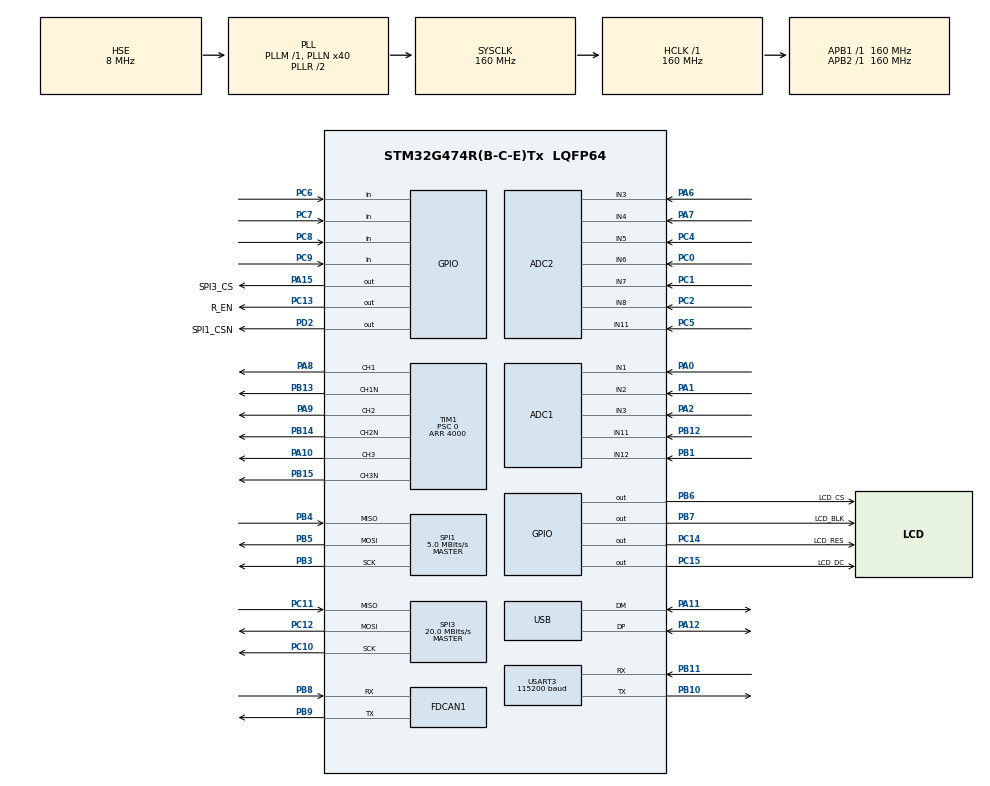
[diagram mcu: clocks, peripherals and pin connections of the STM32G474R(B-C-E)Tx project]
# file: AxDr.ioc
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ADC1.Channel-4\#ChannelRegularConversion=ADC_CHANNEL_11
ADC1.Channel-5\#ChannelRegularConversion=ADC_CHANNEL_12
ADC1.ContinuousConvMode=ENABLE
ADC1.DMAContinuousRequests=ENABLE
ADC1.EnableInjectedConversion=ENABLE
ADC1.EnableRegularConversion=ENABLE
ADC1.ExternalTrigInjecConv=ADC_EXTERNALTRIGINJEC_T1_CC4
ADC1.ExternalTrigInjecConvEdge=ADC_EXTERNALTRIGINJECCONV_EDGE_FALLING
ADC1.InjNumberOfConversion=3
ADC1.InjectedChannel-1\#ChannelInjectedConversion=ADC_CHANNEL_1
ADC1.InjectedChannel-2\#ChannelInjectedConversion=ADC_CHANNEL_2
ADC1.InjectedChannel-3\#ChannelInjectedConversion=ADC_CHANNEL_3
ADC1.InjectedOffsetNumber-1\#ChannelInjectedConversion=ADC_OFFSET_NONE
ADC1.InjectedOffsetNumber-2\#ChannelInjectedConversion=ADC_OFFSET_NONE
ADC1.InjectedOffsetNumber-3\#ChannelInjectedConversion=ADC_OFFSET_NONE
ADC1.InjectedRank-1\#ChannelInjectedConversion=1
ADC1.InjectedRank-2\#ChannelInjectedConversion=2
ADC1.InjectedRank-3\#ChannelInjectedConversion=3
ADC1.InjectedSamplingTime-1\#ChannelInjectedConversion=ADC_SAMPLETIME_47CYCLES_5
ADC1.InjectedSamplingTime-2\#ChannelInjectedConversion=ADC_SAMPLETIME_47CYCLES_5
ADC1.InjectedSamplingTime-3\#ChannelInjectedConversion=ADC_SAMPLETIME_47CYCLES_5
ADC1.NbrOfConversion=2
ADC1.NbrOfConversionFlag=1
ADC1.OffsetNumber-4\#ChannelRegularConversion=ADC_OFFSET_NONE
ADC1.OffsetNumber-5\#ChannelRegularConversion=ADC_OFFSET_NONE
ADC1.Rank-4\#ChannelRegularConversion=1
ADC1.Rank-5\#ChannelRegularConversion=2
ADC1.SamplingTime-4\#ChannelRegularConversion=ADC_SAMPLETIME_47CYCLES_5
ADC1.SamplingTime-5\#ChannelRegularConversion=ADC_SAMPLETIME_47CYCLES_5
ADC1.master=1
ADC2.Channel-11\#ChannelRegularConversion=ADC_CHANNEL_5
ADC2.Channel-12\#ChannelRegularConversion=ADC_CHANNEL_6
ADC2.Channel-13\#ChannelRegularConversion=ADC_CHANNEL_7
ADC2.Channel-14\#ChannelRegularConversion=ADC_CHANNEL_8
ADC2.ContinuousConvMode=ENABLE
ADC2.DMAContinuousRequests=ENABLE
ADC2.EnableInjectedConversion=ENABLE
ADC2.EnableRegularConversion=ENABLE
ADC2.ExternalTrigInjecConv=ADC_EXTERNALTRIGINJEC_T1_CC4
ADC2.ExternalTrigInjecConvEdge=ADC_EXTERNALTRIGINJECCONV_EDGE_FALLING
ADC2.InjNumberOfConversion=1
ADC2.InjectedChannel-1\#ChannelInjectedConversion=ADC_CHANNEL_11
ADC2.InjectedOffsetNumber-1\#ChannelInjectedConversion=ADC_OFFSET_NONE
ADC2.InjectedRank-1\#ChannelInjectedConversion=1
ADC2.InjectedSamplingTime-1\#ChannelInjectedConversion=ADC_SAMPLETIME_47CYCLES_5
ADC2.NbrOfConversion=4
ADC2.NbrOfConversionFlag=1
ADC2.OffsetNumber-11\#ChannelRegularConversion=ADC_OFFSET_NONE
ADC2.OffsetNumber-12\#ChannelRegularConversion=ADC_OFFSET_NONE
ADC2.OffsetNumber-13\#ChannelRegularConversion=ADC_OFFSET_NONE
ADC2.OffsetNumber-14\#ChannelRegularConversion=ADC_OFFSET_NONE
ADC2.Rank-11\#ChannelRegularConversion=1
ADC2.Rank-12\#ChannelRegularConversion=2
ADC2.Rank-13\#ChannelRegularConversion=3
ADC2.Rank-14\#ChannelRegularConversion=4
ADC2.SamplingTime-11\#ChannelRegularConversion=ADC_SAMPLETIME_47CYCLES_5
ADC2.SamplingTime-12\#ChannelRegularConversion=ADC_SAMPLETIME_47CYCLES_5
ADC2.SamplingTime-13\#ChannelRegularConversion=ADC_SAMPLETIME_47CYCLES_5
ADC2.SamplingTime-14\#ChannelRegularConversion=ADC_SAMPLETIME_47CYCLES_5
Dma.ADC1.3.Direction=DMA_PERIPH_TO_MEMORY
Dma.ADC1.3.EventEnable=DISABLE
Dma.ADC1.3.Instance=DMA1_Channel4
Dma.ADC1.3.MemDataAlignment=DMA_MDATAALIGN_HALFWORD
Dma.ADC1.3.MemInc=DMA_MINC_ENABLE
Dma.ADC1.3.Mode=DMA_CIRCULAR
Dma.ADC1.3.PeriphDataAlignment=DMA_PDATAALIGN_HALFWORD
Dma.ADC1.3.PeriphInc=DMA_PINC_DISABLE
Dma.ADC1.3.Polarity=HAL_DMAMUX_REQ_GEN_RISING
Dma.ADC1.3.Priority=DMA_PRIORITY_LOW
Dma.ADC1.3.RequestNumber=1
Dma.ADC1.3.SignalID=NONE
Dma.ADC1.3.SyncEnable=DISABLE
Dma.ADC1.3.SyncPolarity=HAL_DMAMUX_SYNC_NO_EVENT
Dma.ADC1.3.SyncRequestNumber=1
Dma.ADC1.3.SyncSignalID=NONE
Dma.ADC2.2.Direction=DMA_PERIPH_TO_MEMORY
Dma.ADC2.2.EventEnable=DISABLE
Dma.ADC2.2.Instance=DMA1_Channel3
Dma.ADC2.2.MemDataAlignment=DMA_MDATAALIGN_HALFWORD
Dma.ADC2.2.MemInc=DMA_MINC_ENABLE
Dma.ADC2.2.Mode=DMA_CIRCULAR
Dma.ADC2.2.PeriphDataAlignment=DMA_PDATAALIGN_HALFWORD
Dma.ADC2.2.PeriphInc=DMA_PINC_DISABLE
Dma.ADC2.2.Polarity=HAL_DMAMUX_REQ_GEN_RISING
Dma.ADC2.2.Priority=DMA_PRIORITY_LOW
Dma.ADC2.2.RequestNumber=1
Dma.ADC2.2.SignalID=NONE
Dma.ADC2.2.SyncEnable=DISABLE
Dma.ADC2.2.SyncPolarity=HAL_DMAMUX_SYNC_NO_EVENT
Dma.ADC2.2.SyncRequestNumber=1
Dma.ADC2.2.SyncSignalID=NONE
Dma.Request0=USART3_RX
Dma.Request1=USART3_TX
Dma.Request2=ADC2
Dma.Request3=ADC1
Dma.USART3_RX.0.Direction=DMA_PERIPH_TO_MEMORY
Dma.USART3_RX.0.EventEnable=DISABLE
Dma.USART3_RX.0.Instance=DMA1_Channel1
Dma.USART3_RX.0.MemDataAlignment=DMA_MDATAALIGN_BYTE
Dma.USART3_RX.0.MemInc=DMA_MINC_ENABLE
Dma.USART3_RX.0.Mode=DMA_NORMAL
Dma.USART3_RX.0.PeriphDataAlignment=DMA_PDATAALIGN_BYTE
Dma.USART3_RX.0.PeriphInc=DMA_PINC_DISABLE
Dma.USART3_RX.0.Polarity=HAL_DMAMUX_REQ_GEN_RISING
Dma.USART3_RX.0.Priority=DMA_PRIORITY_LOW
Dma.USART3_RX.0.RequestNumber=1
Dma.USART3_RX.0.SignalID=NONE
Dma.USART3_RX.0.SyncEnable=DISABLE
Dma.USART3_RX.0.SyncPolarity=HAL_DMAMUX_SYNC_NO_EVENT
Dma.USART3_RX.0.SyncRequestNumber=1
Dma.USART3_RX.0.SyncSignalID=NONE
Dma.USART3_TX.1.Direction=DMA_MEMORY_TO_PERIPH
Dma.USART3_TX.1.EventEnable=DISABLE
Dma.USART3_TX.1.Instance=DMA1_Channel2
Dma.USART3_TX.1.MemDataAlignment=DMA_MDATAALIGN_BYTE
Dma.USART3_TX.1.MemInc=DMA_MINC_ENABLE
Dma.USART3_TX.1.Mode=DMA_NORMAL
Dma.USART3_TX.1.PeriphDataAlignment=DMA_PDATAALIGN_BYTE
Dma.USART3_TX.1.PeriphInc=DMA_PINC_DISABLE
Dma.USART3_TX.1.Polarity=HAL_DMAMUX_REQ_GEN_RISING
Dma.USART3_TX.1.Priority=DMA_PRIORITY_LOW
Dma.USART3_TX.1.RequestNumber=1
Dma.USART3_TX.1.SignalID=NONE
Dma.USART3_TX.1.SyncEnable=DISABLE
Dma.USART3_TX.1.SyncPolarity=HAL_DMAMUX_SYNC_NO_EVENT
Dma.USART3_TX.1.SyncRequestNumber=1
Dma.USART3_TX.1.SyncSignalID=NONE
FDCAN1.AutoRetransmission=ENABLE
FDCAN1.CalculateBaudRateNominal=1000000
FDCAN1.CalculateTimeBitNominal=1000
FDCAN1.CalculateTimeQuantumNominal=12.5
FDCAN1.DataPrescaler=1
FDCAN1.DataSyncJumpWidth=1
FDCAN1.DataTimeSeg1=14
FDCAN1.DataTimeSeg2=1
FDCAN1.ExtFiltersNbr=8
FDCAN1.FrameFormat=FDCAN_FRAME_FD_BRS
FDCAN1.NominalPrescaler=1
FDCAN1.NominalSyncJumpWidth=20
FDCAN1.NominalTimeSeg1=59
FDCAN1.NominalTimeSeg2=20
FDCAN1.ProtocolException=DISABLE
FDCAN1.StdFiltersNbr=16
FDCAN1.TransmitPause=ENABLE
Mcu.Family=STM32G4
Mcu.Name=STM32G474R(B-C-E)Tx
Mcu.Package=LQFP64
NVIC.ADC1_2_IRQn=true\:0\:0\:false\:false\:true\:true\:true\:true
NVIC.DMA1_Channel1_IRQn=true\:0\:0\:false\:false\:true\:false\:true\:true
NVIC.DMA1_Channel2_IRQn=true\:0\:0\:false\:false\:true\:false\:true\:true
NVIC.DMA1_Channel3_IRQn=true\:0\:0\:false\:false\:true\:false\:true\:true
NVIC.DMA1_Channel4_IRQn=true\:0\:0\:false\:false\:true\:false\:true\:true
NVIC.FDCAN1_IT0_IRQn=true\:0\:0\:false\:false\:true\:true\:true\:true
NVIC.FDCAN1_IT1_IRQn=true\:0\:0\:false\:false\:true\:true\:true\:true
NVIC.PriorityGroup=NVIC_PRIORITYGROUP_4
NVIC.TIM1_UP_TIM16_IRQn=true\:0\:0\:false\:false\:true\:true\:true\:true
NVIC.USART3_IRQn=true\:0\:0\:false\:false\:true\:true\:true\:true
NVIC.USB_LP_IRQn=true\:0\:0\:false\:false\:true\:false\:true\:true
PA0.Mode=IN1-Single-Ended
PA0.Signal=ADC1_IN1
PA1.Mode=IN2-Single-Ended
PA1.Signal=ADC1_IN2
PA10.Signal=S_TIM1_CH3
PA11.Mode=Device
PA11.Signal=USB_DM
PA12.Mode=Device
PA12.Signal=USB_DP
PA13.Mode=Serial_Wire
PA13.Signal=SYS_JTMS-SWDIO
PA14.Mode=Serial_Wire
PA14.Signal=SYS_JTCK-SWCLK
PA15.GPIO_Label=SPI3_CS
PA15.GPIO_PuPd=GPIO_PULLUP
PA15.Signal=GPIO_Output
PA2.Mode=IN3-Single-Ended
PA2.Signal=ADC1_IN3
PA6.Mode=IN3-Single-Ended
PA6.Signal=ADC2_IN3
PA7.Mode=IN4-Single-Ended
PA7.Signal=ADC2_IN4
PA8.Signal=S_TIM1_CH1
PA9.Signal=S_TIM1_CH2
PB1.Mode=IN12-Single-Ended
PB1.Signal=ADC1_IN12
PB10.Mode=Asynchronous
PB10.Signal=USART3_TX
PB11.Mode=Asynchronous
PB11.Signal=USART3_RX
PB12.Mode=IN11-Single-Ended
PB12.Signal=ADC1_IN11
PB13.Mode=PWM Generation1 CH1 CH1N
PB13.Signal=TIM1_CH1N
PB14.Mode=PWM Generation2 CH2 CH2N
PB14.Signal=TIM1_CH2N
PB15.Mode=PWM Generation3 CH3 CH3N
PB15.Signal=TIM1_CH3N
PB3.Mode=Full_Duplex_Master
PB3.Signal=SPI1_SCK
PB4.Mode=Full_Duplex_Master
PB4.Signal=SPI1_MISO
PB5.Mode=Full_Duplex_Master
PB5.Signal=SPI1_MOSI
PB6.GPIO_Label=LCD_CS
PB6.GPIO_PuPd=GPIO_PULLDOWN
PB6.Signal=GPIO_Output
PB7.GPIO_Label=LCD_BLK
PB7.GPIO_PuPd=GPIO_PULLDOWN
PB7.Signal=GPIO_Output
PB8-BOOT0.Mode=FDCAN_Activate
PB8-BOOT0.Signal=FDCAN1_RX
PB9.Mode=FDCAN_Activate
PB9.Signal=FDCAN1_TX
PC0.Mode=IN6-Single-Ended
PC0.Signal=ADC2_IN6
PC1.Mode=IN7-Single-Ended
PC1.Signal=ADC2_IN7
PC10.Mode=Full_Duplex_Master
PC10.Signal=SPI3_SCK
PC11.Mode=Full_Duplex_Master
PC11.Signal=SPI3_MISO
PC12.Mode=Full_Duplex_Master
PC12.Signal=SPI3_MOSI
PC13.GPIO_Label=R_EN
PC13.Signal=GPIO_Output
PC14-OSC32_IN.GPIO_Label=LCD_RES
PC14-OSC32_IN.GPIO_PuPd=GPIO_PULLUP
PC14-OSC32_IN.PinState=GPIO_PIN_SET
PC14-OSC32_IN.Signal=GPIO_Output
PC15-OSC32_OUT.GPIO_Label=LCD_DC
PC15-OSC32_OUT.GPIO_PuPd=GPIO_PULLDOWN
PC15-OSC32_OUT.PinState=GPIO_PIN_SET
PC15-OSC32_OUT.Signal=GPIO_Output
PC2.Mode=IN8-Single-Ended
PC2.Signal=ADC2_IN8
PC4.Mode=IN5-Single-Ended
PC4.Signal=ADC2_IN5
PC5.Mode=IN11-Single-Ended
PC5.Signal=ADC2_IN11
PC6.GPIO_PuPd=GPIO_PULLUP
PC6.Signal=GPIO_Input
PC7.GPIO_PuPd=GPIO_PULLUP
PC7.Signal=GPIO_Input
PC8.GPIO_PuPd=GPIO_PULLUP
PC8.Signal=GPIO_Input
PC9.GPIO_PuPd=GPIO_PULLUP
PC9.Signal=GPIO_Input
PD2.GPIO_Label=SPI1_CSN
PD2.GPIO_PuPd=GPIO_PULLDOWN
PD2.Signal=GPIO_Output
PF0-OSC_IN.Mode=HSE-External-Oscillator
PF0-OSC_IN.Signal=RCC_OSC_IN
PF1-OSC_OUT.Mode=HSE-External-Oscillator
PF1-OSC_OUT.Signal=RCC_OSC_OUT
ProjectManager.HeapSize=0x200
ProjectManager.StackSize=0x400
ProjectManager.TargetToolchain=CMake
RCC.ADC12Freq_Value=160000000
RCC.ADC345Freq_Value=160000000
RCC.AHBFreq_Value=160000000
RCC.APB1Freq_Value=160000000
RCC.APB1TimFreq_Value=160000000
RCC.APB2Freq_Value=160000000
RCC.APB2TimFreq_Value=160000000
RCC.CK48CLockSelection=RCC_USBCLKSOURCE_HSI48
RCC.CortexFreq_Value=160000000
RCC.EXTERNAL_CLOCK_VALUE=12288000
RCC.FDCANCLockSelection=RCC_FDCANCLKSOURCE_PLL
RCC.HCLKFreq_Value=160000000
RCC.HSE_VALUE=8000000
RCC.HSI48_VALUE=48000000
RCC.HSI_VALUE=16000000
RCC.LSE_VALUE=32768
RCC.PLLN=40
RCC.PLLQ=RCC_PLLQ_DIV4
RCC.PLLSourceVirtual=RCC_PLLSOURCE_HSE
RCC.SYSCLKFreq_VALUE=160000000
RCC.SYSCLKSource=RCC_SYSCLKSOURCE_PLLCLK
RCC.USBFreq_Value=48000000
RCC.VCOOutputFreq_Value=320000000
SH.S_TIM1_CH1.0=TIM1_CH1,PWM Generation1 CH1 CH1N
SH.S_TIM1_CH2.0=TIM1_CH2,PWM Generation2 CH2 CH2N
SH.S_TIM1_CH3.0=TIM1_CH3,PWM Generation3 CH3 CH3N
SPI1.BaudRatePrescaler=SPI_BAUDRATEPRESCALER_32
SPI1.CLKPhase=SPI_PHASE_2EDGE
SPI1.CLKPolarity=SPI_POLARITY_HIGH
SPI1.CRCCalculation=SPI_CRCCALCULATION_DISABLE
SPI1.CalculateBaudRate=5.0 MBits/s
SPI1.DataSize=SPI_DATASIZE_16BIT
SPI1.Direction=SPI_DIRECTION_2LINES
SPI1.FirstBit=SPI_FIRSTBIT_MSB
SPI1.Mode=SPI_MODE_MASTER
SPI1.NSS=SPI_NSS_SOFT
SPI1.TIMode=SPI_TIMODE_DISABLE
SPI1.VirtualType=VM_MASTER
SPI3.BaudRatePrescaler=SPI_BAUDRATEPRESCALER_8
SPI3.CalculateBaudRate=20.0 MBits/s
SPI3.DataSize=SPI_DATASIZE_8BIT
SPI3.Direction=SPI_DIRECTION_2LINES
SPI3.Mode=SPI_MODE_MASTER
SPI3.VirtualType=VM_MASTER
TIM1.AutoReloadPreload=TIM_AUTORELOAD_PRELOAD_DISABLE
TIM1.AutomaticOutput=TIM_AUTOMATICOUTPUT_DISABLE
TIM1.Break2Filter=0
TIM1.Break2Polarity=TIM_BREAK2POLARITY_HIGH
TIM1.Break2State=TIM_BREAK2_DISABLE
TIM1.BreakFilter=0
TIM1.BreakPolarity=TIM_BREAKPOLARITY_HIGH
TIM1.BreakState=TIM_BREAK_DISABLE
TIM1.Channel-PWM\ Generation1\ CH1\ CH1N=TIM_CHANNEL_1
TIM1.Channel-PWM\ Generation2\ CH2\ CH2N=TIM_CHANNEL_2
TIM1.Channel-PWM\ Generation3\ CH3\ CH3N=TIM_CHANNEL_3
TIM1.Channel-PWM\ Generation4\ No\ Output=TIM_CHANNEL_4
TIM1.ClearInputSource=TIM_CLEARINPUTSOURCE_NONE
TIM1.ClockDivision=TIM_CLOCKDIVISION_DIV1
TIM1.CounterMode=TIM_COUNTERMODE_CENTERALIGNED2
TIM1.Dithering=Disable
TIM1.LockLevel=TIM_LOCKLEVEL_OFF
TIM1.OC4Preload_PWM=ENABLE
TIM1.OCFastMode_PWM-PWM\ Generation4\ No\ Output=TIM_OCFAST_DISABLE
TIM1.OCIdleState_4=TIM_OCIDLESTATE_RESET
TIM1.OCMode_PWM-PWM\ Generation4\ No\ Output=TIM_OCMODE_PWM1
TIM1.OCPolarity_4=TIM_OCPOLARITY_HIGH
TIM1.OffStateIDLEMode=TIM_OSSI_DISABLE
TIM1.PeriodNoDither=4000
TIM1.Prescaler=0
TIM1.PulseNoDither_4=0
TIM1.RepetitionCounter=0
TIM1.SourceBRK2COMP1=TIM_BREAKINPUTSOURCE_DISABLE
TIM1.SourceBRK2COMP2=TIM_BREAKINPUTSOURCE_DISABLE
TIM1.SourceBRK2COMP3=TIM_BREAKINPUTSOURCE_DISABLE
TIM1.SourceBRK2COMP4=TIM_BREAKINPUTSOURCE_DISABLE
TIM1.SourceBRK2DigInput=TIM_BREAKINPUTSOURCE_DISABLE
TIM1.SourceBRKCOMP1=TIM_BREAKINPUTSOURCE_DISABLE
TIM1.SourceBRKCOMP2=TIM_BREAKINPUTSOURCE_DISABLE
TIM1.SourceBRKCOMP3=TIM_BREAKINPUTSOURCE_DISABLE
TIM1.SourceBRKCOMP4=TIM_BREAKINPUTSOURCE_DISABLE
TIM1.SourceBRKDigInput=TIM_BREAKINPUTSOURCE_DISABLE
TIM1.TIM_MasterOutputTrigger=TIM_TRGO_RESET
TIM1.TIM_MasterOutputTrigger2=TIM_TRGO2_RESET
TIM1.TIM_MasterSlaveMode=TIM_MASTERSLAVEMODE_DISABLE
TIM3.Prescaler=0
USART3.BaudRate=115200
USART3.VirtualMode-Asynchronous=VM_ASYNC
USB.DeviceSpeed=PCD_SPEED_FULL
USB.Sof_enable=DISABLE
USB.battery_charging_enable=DISABLE
USB.low_power_enable=DISABLE
USB.lpm_enable=DISABLE
USB.phy_itface=PCD_PHY_EMBEDDED
USB_DEVICE.CLASS_NAME_FS=CDC
USB_DEVICE.VirtualMode=Cdc
USB_DEVICE.VirtualModeFS=Cdc_FS
VP_SYS_VS_DBSignals.Mode=DisableDeadBatterySignals
VP_TIM1_VS_ClockSourceINT.Mode=Internal
VP_TIM1_VS_no_output4.Mode=PWM Generation4 No Output
VP_TIM3_VS_ClockSourceINT.Mode=Internal
VP_USB_DEVICE_VS_USB_DEVICE_CDC_FS.Mode=CDC_FS
board=custom

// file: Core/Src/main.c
/* USER CODE BEGIN Header */
/**
  ******************************************************************************
  * @file           : main.c
  * @brief          : Main program body
  ******************************************************************************
  * @attention
  *
  * Copyright (c) 2025 STMicroelectronics.
  * All rights reserved.
  *
  * This software is licensed under terms that can be found in the LICENSE file
  * in the root directory of this software component.
  * If no LICENSE file comes with this software, it is provided AS-IS.
  *
  ******************************************************************************
  */
/* USER CODE END Header */
#include "main.h"
#include "adc.h"
#include "dma.h"
#include "fdcan.h"
#include "spi.h"
#include "tim.h"
#include "usart.h"
#include "usb_device.h"
#include "gpio.h"

/* USER CODE BEGIN Includes */
#include "common.h"
#include "modlue.h"
#include "lcd.h"
/* USER CODE END Includes */

void SystemClock_Config(void);

/* USER CODE BEGIN 0 */
uint16_t adc1_buff[2];
uint16_t adc2_buff[4];
/* USER CODE END 0 */

int main(void)
{

  /* MCU Configuration--------------------------------------------------------*/

  /* Reset of all peripherals, Initializes the Flash interface and the Systick. */
  HAL_Init();

  /* Configure the system clock */
  SystemClock_Config();

  /* Initialize all configured peripherals */
  MX_GPIO_Init();
  MX_DMA_Init();
  MX_SPI1_Init();
  MX_TIM1_Init();
  MX_TIM3_Init();
  MX_USB_Device_Init();
  MX_ADC1_Init();
  MX_ADC2_Init();
  MX_USART3_UART_Init();
  MX_FDCAN1_Init();
  MX_SPI3_Init();
  /* USER CODE BEGIN 2 */
  HAL_Delay(1000);
	uint32_t time;
  HAL_TIM_Base_Start(&htim3);
  // HAL_TIM_Base_Start_IT(&htim1);

  HAL_ADCEx_Calibration_Start(&hadc1, ADC_SINGLE_ENDED);
  HAL_ADCEx_Calibration_Start(&hadc2, ADC_SINGLE_ENDED);
  HAL_ADCEx_InjectedStart_IT(&hadc1);
  HAL_ADCEx_InjectedStart(&hadc2);

  HAL_ADC_Start_DMA(&hadc1, (uint32_t *)adc1_buff, 2);
  HAL_ADC_Start_DMA(&hadc2, (uint32_t *)adc2_buff, 4);

  HAL_TIM_PWM_Start(&htim1, TIM_CHANNEL_4);
  __HAL_TIM_SET_COMPARE(&htim1, TIM_CHANNEL_4, 3900);

  pmsm_init();
  foc_pwm_start();

  LCD_Init();
  LCD_Fill(0,0,LCD_W,LCD_H,BLACK);
  HAL_Delay(1000);
  display_foc();
  /* USER CODE END 2 */

  /* Infinite loop */
  /* USER CODE BEGIN WHILE */
  while (1)
  {
	  if(HAL_GetTick() - time > 1)
      {
      	time = HAL_GetTick();
//		  vofa_start();
      }
    /* USER CODE END WHILE */

  }
}

void SystemClock_Config(void)
{
  RCC_OscInitTypeDef RCC_OscInitStruct = {0};
  RCC_ClkInitTypeDef RCC_ClkInitStruct = {0};

  /** Configure the main internal regulator output voltage
  */
  HAL_PWREx_ControlVoltageScaling(PWR_REGULATOR_VOLTAGE_SCALE1_BOOST);

  /** Initializes the RCC Oscillators according to the specified parameters
  * in the RCC_OscInitTypeDef structure.
  */
  RCC_OscInitStruct.OscillatorType = RCC_OSCILLATORTYPE_HSI48|RCC_OSCILLATORTYPE_HSE;
  RCC_OscInitStruct.HSEState = RCC_HSE_ON;
  RCC_OscInitStruct.HSI48State = RCC_HSI48_ON;
  RCC_OscInitStruct.PLL.PLLState = RCC_PLL_ON;
  RCC_OscInitStruct.PLL.PLLSource = RCC_PLLSOURCE_HSE;
  RCC_OscInitStruct.PLL.PLLM = RCC_PLLM_DIV1;
  RCC_OscInitStruct.PLL.PLLN = 40;
  RCC_OscInitStruct.PLL.PLLP = RCC_PLLP_DIV2;
  RCC_OscInitStruct.PLL.PLLQ = RCC_PLLQ_DIV4;
  RCC_OscInitStruct.PLL.PLLR = RCC_PLLR_DIV2;
  if (HAL_RCC_OscConfig(&RCC_OscInitStruct) != HAL_OK)
  {
    Error_Handler();
  }

  /** Initializes the CPU, AHB and APB buses clocks
  */
  RCC_ClkInitStruct.ClockType = RCC_CLOCKTYPE_HCLK|RCC_CLOCKTYPE_SYSCLK
                              |RCC_CLOCKTYPE_PCLK1|RCC_CLOCKTYPE_PCLK2;
  RCC_ClkInitStruct.SYSCLKSource = RCC_SYSCLKSOURCE_PLLCLK;
  RCC_ClkInitStruct.AHBCLKDivider = RCC_SYSCLK_DIV1;
  RCC_ClkInitStruct.APB1CLKDivider = RCC_HCLK_DIV1;
  RCC_ClkInitStruct.APB2CLKDivider = RCC_HCLK_DIV1;

  if (HAL_RCC_ClockConfig(&RCC_ClkInitStruct, FLASH_LATENCY_4) != HAL_OK)
  {
    Error_Handler();
  }
}

void Error_Handler(void)
{
  __disable_irq();
  while (1)
  {
  }
}
